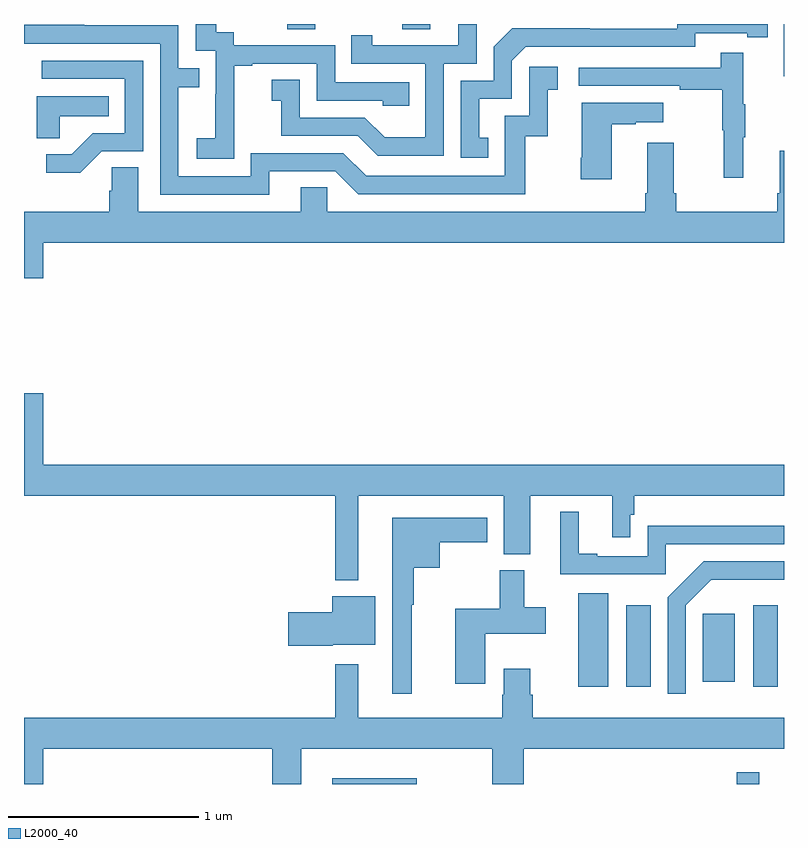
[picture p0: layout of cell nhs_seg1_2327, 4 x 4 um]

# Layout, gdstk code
import gdstk
lib = gdstk.Library(unit=1e-6, precision=1e-09)
def R(c, l, rs):  # rectangles x0, y0, x1, y1
    for r in rs: c.add(gdstk.rectangle(r[:2], r[2:], *l))
def P(c, l, *ps):  # polygons
    for p in ps: c.add(gdstk.Polygon(p, *l))
L2000_40 = (2000, 40)

nhs_seg1_2327 = lib.new_cell('nhs_seg1_2327')
R(nhs_seg1_2327, L2000_40, [(238.622,566.199,239.068,566.23), (240.75,566.199,240.871,566.26), (239.918,566.712,240.076,567.202), (240.17,566.712,240.298,567.139), (240.839,566.712,240.967,567.139), (240.572,566.738,240.742,567.094), (240.999,569.925,241,570.199), (238.385,570.172,238.533,570.199), (238.99,570.172,239.137,570.199)])
P(nhs_seg1_2327, L2000_40, [(239.208,569.991),(239.382,569.991),(239.382,570.199),(239.285,570.199),(239.285,570.087),(238.834,570.087),(238.834,570.139),(238.723,570.139),(238.723,569.991),(239.112,569.991),(239.112,569.602),(238.898,569.602),(238.794,569.706),(238.452,569.706),(238.452,569.905),(238.305,569.905),(238.305,569.795),(238.354,569.795),(238.354,569.61),(238.757,569.61),(238.862,569.505),(239.208,569.505)],
  [(238.107,569.695),(238.106,569.695),(238.106,569.979),(238.201,569.979),(238.201,569.991),(238.542,569.991),(238.542,569.796),(238.887,569.796),(238.887,569.769),(239.027,569.769),(239.027,569.892),(238.638,569.892),(238.638,570.087),(238.104,570.087),(238.104,570.156),(238.012,570.156),(238.012,570.199),(237.903,570.199),(237.903,570.057),(238.008,570.057),(238.008,569.828),(238.007,569.828),(238.007,569.599),(237.909,569.599),(237.909,569.489),(238.107,569.489)],
  [(239.444,569.601),(239.395,569.601),(239.395,569.805),(239.568,569.805),(239.568,570.006),(239.64,570.078),(240.534,570.078),(240.534,570.15),(240.806,570.15),(240.806,570.13),(240.914,570.13),(240.914,570.199),(240.438,570.199),(240.438,570.174),(239.978,570.174),(239.978,570.176),(239.57,570.176),(239.472,570.078),(239.472,569.901),(239.298,569.901),(239.298,569.496),(239.444,569.496)],
  [(238.291,569.424),(238.638,569.424),(238.758,569.304),(239.638,569.304),(239.638,569.607),(239.756,569.607),(239.756,569.853),(239.809,569.853),(239.809,569.974),(239.658,569.974),(239.658,569.715),(239.529,569.715),(239.529,569.4),(238.8,569.4),(238.68,569.52),(238.194,569.52),(238.194,569.397),(237.813,569.397),(237.813,569.866),(237.923,569.866),(237.923,569.967),(237.813,569.967),(237.813,570.192),(237.317,570.192),(237.317,570.194),(237,570.194),(237,570.096),(237.717,570.096),(237.717,569.301),(238.291,569.301)],
  [(240.785,569.603),(240.796,569.603),(240.796,569.777),(240.785,569.777),(240.785,570.049),(240.667,570.049),(240.667,569.97),(239.919,569.97),(239.919,569.874),(240.451,569.874),(240.451,569.854),(240.675,569.854),(240.675,569.64),(240.682,569.64),(240.682,569.391),(240.785,569.391)],
  [(237.408,569.529),(237.627,569.529),(237.627,570.006),(237.093,570.006),(237.093,569.91),(237.531,569.91),(237.531,569.625),(237.362,569.625),(237.251,569.514),(237.117,569.514),(237.117,569.417),(237.295,569.417)],
  [(237.189,569.714),(237.446,569.714),(237.446,569.818),(237.068,569.818),(237.068,569.599),(237.189,569.599)],
  [(240.094,569.671),(240.221,569.671),(240.221,569.681),(240.364,569.681),(240.364,569.785),(239.936,569.785),(239.936,569.494),(239.929,569.494),(239.929,569.382),(240.094,569.382)],
  [(237.1,569.048),(241,569.048),(241,569.533),(240.977,569.533),(240.977,569.308),(240.965,569.308),(240.965,569.212),(240.434,569.212),(240.434,569.308),(240.421,569.308),(240.421,569.575),(240.281,569.575),(240.281,569.308),(240.269,569.308),(240.269,569.212),(238.596,569.212),(238.596,569.339),(238.457,569.339),(238.457,569.212),(237.601,569.212),(237.601,569.444),(237.462,569.444),(237.462,569.321),(237.449,569.321),(237.449,569.212),(237,569.212),(237,568.86),(237.1,568.86)],
  [(238.759,567.716),(239.525,567.716),(239.525,567.409),(239.665,567.409),(239.665,567.716),(240.095,567.716),(240.095,567.498),(240.192,567.498),(240.192,567.615),(240.212,567.615),(240.212,567.716),(241,567.716),(241,567.88),(237.1,567.88),(237.1,568.255),(237,568.255),(237,567.716),(238.638,567.716),(238.638,567.272),(238.759,567.272)],
  [(240.378,567.462),(241,567.462),(241,567.559),(240.282,567.559),(240.282,567.399),(240.016,567.399),(240.016,567.412),(239.92,567.412),(239.92,567.631),(239.822,567.631),(239.822,567.303),(240.174,567.303),(240.174,567.302),(240.378,567.302)],
  [(239.041,567.142),(239.051,567.142),(239.051,567.338),(239.188,567.338),(239.188,567.472),(239.437,567.472),(239.437,567.601),(238.937,567.601),(238.937,566.673),(239.041,566.673)],
  [(240.483,567.141),(240.617,567.275),(241,567.275),(241,567.372),(240.578,567.372),(240.482,567.277),(240.387,567.183),(240.387,566.673),(240.483,566.673)],
  [(239.428,566.99),(239.746,566.99),(239.746,567.13),(239.632,567.13),(239.632,567.324),(239.503,567.324),(239.503,567.121),(239.27,567.121),(239.27,566.727),(239.428,566.727)],
  [(238.626,566.933),(238.849,566.933),(238.849,567.187),(238.622,567.187),(238.622,567.104),(238.392,567.104),(238.392,566.926),(238.626,566.926)],
  [(239.465,566.199),(239.63,566.199),(239.63,566.384),(241,566.384),(241,566.548),(239.678,566.548),(239.678,566.669),(239.665,566.669),(239.665,566.806),(239.525,566.806),(239.525,566.669),(239.518,566.669),(239.518,566.548),(238.759,566.548),(238.759,566.83),(238.638,566.83),(238.638,566.548),(237,566.548),(237,566.199),(237.1,566.199),(237.1,566.384),(238.307,566.384),(238.307,566.199),(238.459,566.199),(238.459,566.384),(239.465,566.384)])

lib.write_gds('nhs_seg1_2327.gds')
